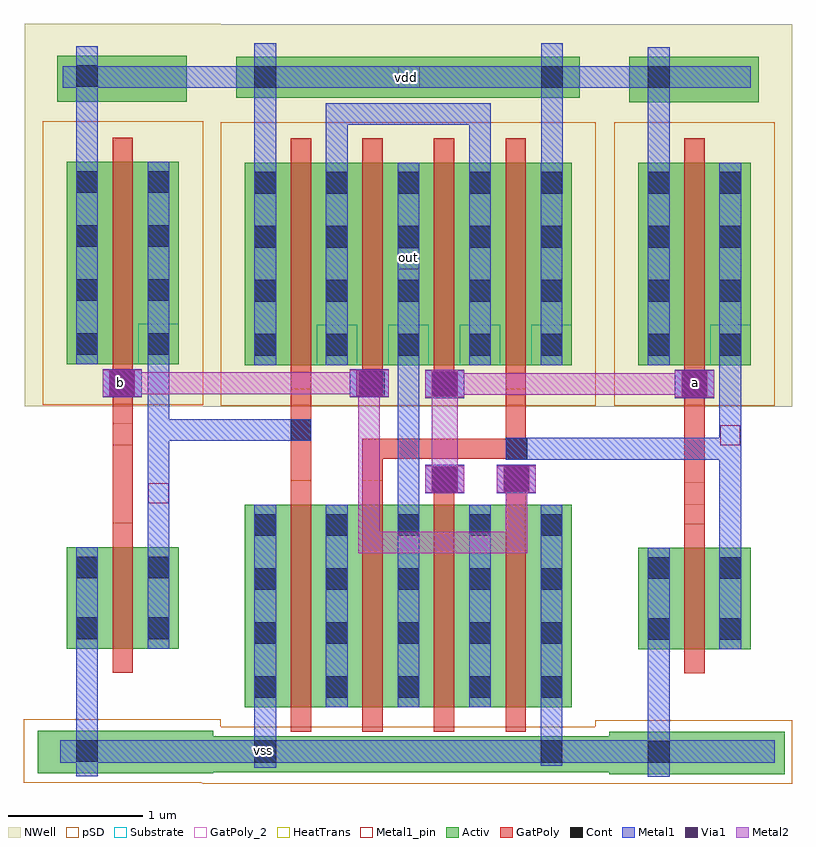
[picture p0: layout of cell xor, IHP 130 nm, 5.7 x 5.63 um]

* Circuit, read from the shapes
.subckt xor a b out vdd vss
XM1 inverter$1_4/out b vss vss sg13_lv_nmos w=0.75u l=0.15u
XM2 n1 inverter$1_4/out vss vss sg13_lv_nmos w=1.5u l=0.15u
XM3 out inverter_3/out n1 vss sg13_lv_nmos w=1.5u l=0.15u
XM4 n2 a out vss sg13_lv_nmos w=1.5u l=0.15u
XM5 vss b n2 vss sg13_lv_nmos w=1.5u l=0.15u
XM6 inverter_3/out a vss vss sg13_lv_nmos w=0.75u l=0.15u
XM7 inverter$1_4/out b vdd vdd sg13_lv_pmos w=1.5u l=0.15u
XM8 n3 inverter$1_4/out vdd vdd sg13_lv_pmos w=1.5u l=0.15u
XM9 out b n3 vdd sg13_lv_pmos w=1.5u l=0.15u
XM10 n3 a out vdd sg13_lv_pmos w=1.5u l=0.15u
XM11 vdd inverter_3/out n3 vdd sg13_lv_pmos w=1.5u l=0.15u
XM12 inverter_3/out a vdd vdd sg13_lv_pmos w=1.5u l=0.15u
.ends

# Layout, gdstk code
import gdstk
lib = gdstk.Library(unit=1e-6, precision=5e-09)
def R(c, l, rs):  # rectangles x0, y0, x1, y1
    for r in rs: c.add(gdstk.rectangle(r[:2], r[2:], *l))
def A(c, l, x, y, w, h, nx, ny, dx, dy):  # array of equal rectangles
    R(c, l, [(x+i*dx, y+j*dy, x+i*dx+w, y+j*dy+h) for i in range(nx) for j in range(ny)])
Activ = (1, 0)
GatPoly = (5, 0)
GatPoly_2 = (5, 2)
Cont = (6, 0)
Metal1 = (8, 0)
Metal1_pin = (8, 2)
Metal2 = (10, 0)
pSD = (14, 0)
Via1 = (19, 0)
NWell = (31, 0)
Substrate = (40, 0)
HeatTrans = (51, 0)

pmos = lib.new_cell('pmos')
R(pmos, Activ, [(0,0,0.3,0.3), (0,0,0.83,1.5), (0.53,0,0.83,0.3)])
R(pmos, GatPoly, [(0.34,-0.18,0.49,1.68), (0.34,-0.18,0.49,1.68)])
A(pmos, Cont, 0.07, 0.07, 0.16, 0.16, 1, 4, 0, 0.4)
A(pmos, Cont, 0.6, 0.07, 0.16, 0.16, 1, 4, 0, 0.4)
R(pmos, Metal1, [(0.07,0,0.23,1.5), (0.07,0,0.23,1.5), (0.6,0,0.76,1.5), (0.6,0,0.76,1.5)])
R(pmos, pSD, [(-0.18,-0.3,1.01,1.8)])
R(pmos, NWell, [(-0.31,-0.31,1.14,1.81)])
R(pmos, Substrate, [(0.53,0,0.83,0.3)])
R(pmos, HeatTrans, [(0.34,-0.18,0.49,1.68)])
pmos.add(gdstk.Label('pmos', (0.415,0.75), layer=63, texttype=0))
pmos.add(gdstk.Label('pmos', (0.415,0.75), layer=51, texttype=0))

nmos_1 = lib.new_cell('nmos$1')
R(nmos_1, Activ, [(0,0,0.3,0.3), (0,0,0.83,0.75), (0.53,0,0.83,0.3)])
R(nmos_1, GatPoly, [(0.34,-0.18,0.49,0.93)])
R(nmos_1, GatPoly_2, [(0.34,-0.18,0.49,0.93)])
R(nmos_1, Cont, [(0.07,0.07,0.23,0.23), (0.6,0.07,0.76,0.23), (0.07,0.52,0.23,0.68), (0.6,0.52,0.76,0.68)])
R(nmos_1, Metal1, [(0.07,0,0.23,0.75), (0.6,0,0.76,0.75)])
R(nmos_1, Metal1_pin, [(0.07,0,0.23,0.75), (0.6,0,0.76,0.75)])
R(nmos_1, HeatTrans, [(0.34,-0.18,0.49,0.93)])
nmos_1.add(gdstk.Label('nmos', (0.415,0.375), layer=63, texttype=0))
nmos_1.add(gdstk.Label('nmos', (0.415,0.375), layer=51, texttype=0))

pmos_1 = lib.new_cell('pmos$1')
R(pmos_1, Activ, [(0,0,0.3,0.3), (0,0,0.83,1.5), (0.53,0,0.83,0.3)])
R(pmos_1, GatPoly, [(0.34,-0.18,0.49,1.68), (0.34,-0.18,0.49,1.68)])
A(pmos_1, Cont, 0.07, 0.07, 0.16, 0.16, 1, 4, 0, 0.4)
A(pmos_1, Cont, 0.6, 0.07, 0.16, 0.16, 1, 4, 0, 0.4)
R(pmos_1, Metal1, [(0.07,0,0.23,1.5), (0.07,0,0.23,1.5), (0.6,0,0.76,1.5), (0.6,0,0.76,1.5)])
R(pmos_1, pSD, [(-0.18,-0.3,1.01,1.8)])
R(pmos_1, NWell, [(-0.31,-0.31,1.14,1.81)])
R(pmos_1, Substrate, [(0.53,0,0.83,0.3)])
R(pmos_1, HeatTrans, [(0.34,-0.18,0.49,1.68)])
pmos_1.add(gdstk.Label('pmos', (0.415,0.75), layer=63, texttype=0))
pmos_1.add(gdstk.Label('pmos', (0.415,0.75), layer=51, texttype=0))

inverter = lib.new_cell('inverter')
R(inverter, Activ, [(1.335,-1.99,2.635,-1.675), (1.48,2.985,2.44,3.325)])
R(inverter, GatPoly, [(1.89,-0.135,2.04,1.34)])
R(inverter, GatPoly_2, [(1.89,0.005,2.04,0.17)])
R(inverter, Cont, [(1.62,-1.905,1.78,-1.745), (1.62,2.31,1.78,2.47), (1.62,3.095,1.78,3.255)])
R(inverter, Metal1, [(1.62,-2.01,1.78,-1.065), (2.15,-0.315,2.31,1.27), (1.62,2.15,1.78,3.395)])
R(inverter, Metal1_pin, [(1.62,-1.905,1.78,-1.745), (2.155,0.445,2.305,0.595), (1.62,3.095,1.78,3.255)])
R(inverter, pSD, [(1.23,-2.06,2.69,-1.59)])
R(inverter, NWell, [(1.24,2.85,2.69,3.565)])
inverter.add(gdstk.Reference(nmos_1, (1.55,-1.065)))
inverter.add(gdstk.Reference(pmos_1, (1.55,1.04)))
inverter.add(gdstk.Label('out', (2.23,0.52), layer=8, texttype=2))
inverter.add(gdstk.Label('vdd', (1.685,3.17), layer=8, texttype=2))
inverter.add(gdstk.Label('vss', (1.69,-1.84), layer=8, texttype=2))
inverter.add(gdstk.Label('in', (1.94,0.09), layer=5, texttype=2))

nmos_2 = lib.new_cell('nmos$2')
R(nmos_2, Activ, [(0,0,0.3,0.3), (0,0,0.83,0.75), (0.53,0,0.83,0.3)])
R(nmos_2, GatPoly, [(0.34,-0.18,0.49,0.93)])
R(nmos_2, GatPoly_2, [(0.34,-0.18,0.49,0.93)])
R(nmos_2, Cont, [(0.07,0.07,0.23,0.23), (0.6,0.07,0.76,0.23), (0.07,0.52,0.23,0.68), (0.6,0.52,0.76,0.68)])
R(nmos_2, Metal1, [(0.07,0,0.23,0.75), (0.6,0,0.76,0.75)])
R(nmos_2, Metal1_pin, [(0.07,0,0.23,0.75), (0.6,0,0.76,0.75)])
R(nmos_2, HeatTrans, [(0.34,-0.18,0.49,0.93)])
nmos_2.add(gdstk.Label('nmos', (0.415,0.375), layer=63, texttype=0))
nmos_2.add(gdstk.Label('nmos', (0.415,0.375), layer=51, texttype=0))

pmos_1_1 = lib.new_cell('pmos$1$1')
R(pmos_1_1, Activ, [(0,0,0.3,0.3), (0,0,0.83,1.5), (0.53,0,0.83,0.3)])
R(pmos_1_1, GatPoly, [(0.34,-0.18,0.49,1.68), (0.34,-0.18,0.49,1.68)])
A(pmos_1_1, Cont, 0.07, 0.07, 0.16, 0.16, 1, 4, 0, 0.4)
A(pmos_1_1, Cont, 0.6, 0.07, 0.16, 0.16, 1, 4, 0, 0.4)
R(pmos_1_1, Metal1, [(0.07,0,0.23,1.5), (0.07,0,0.23,1.5), (0.6,0,0.76,1.5), (0.6,0,0.76,1.5)])
R(pmos_1_1, pSD, [(-0.18,-0.3,1.01,1.8)])
R(pmos_1_1, NWell, [(-0.31,-0.31,1.14,1.81)])
R(pmos_1_1, Substrate, [(0.53,0,0.83,0.3)])
R(pmos_1_1, HeatTrans, [(0.34,-0.18,0.49,1.68)])
pmos_1_1.add(gdstk.Label('pmos', (0.415,0.75), layer=63, texttype=0))
pmos_1_1.add(gdstk.Label('pmos', (0.415,0.75), layer=51, texttype=0))

inverter_1 = lib.new_cell('inverter$1')
R(inverter_1, Activ, [(1.335,-1.99,2.635,-1.675), (1.48,2.985,2.44,3.325)])
R(inverter_1, GatPoly, [(1.89,-0.135,2.04,1.34)])
R(inverter_1, GatPoly_2, [(1.89,0.44,2.04,0.605)])
R(inverter_1, Cont, [(1.62,-1.905,1.78,-1.745), (1.62,2.31,1.78,2.47), (1.62,3.095,1.78,3.255)])
R(inverter_1, Metal1, [(1.62,-2.01,1.78,-1.065), (2.15,-0.315,2.31,1.27), (1.62,2.15,1.78,3.395)])
R(inverter_1, Metal1_pin, [(1.62,-1.905,1.78,-1.745), (2.155,0.01,2.305,0.16), (1.62,3.095,1.78,3.255)])
R(inverter_1, pSD, [(1.23,-2.06,2.69,-1.59)])
R(inverter_1, NWell, [(1.24,2.85,2.69,3.565)])
inverter_1.add(gdstk.Reference(nmos_2, (1.55,-1.065)))
inverter_1.add(gdstk.Reference(pmos_1_1, (1.55,1.04)))
inverter_1.add(gdstk.Label('vdd', (1.685,3.17), layer=8, texttype=2))
inverter_1.add(gdstk.Label('out', (2.23,0.085), layer=8, texttype=2))
inverter_1.add(gdstk.Label('vss', (1.69,-1.84), layer=8, texttype=2))
inverter_1.add(gdstk.Label('in', (1.94,0.525), layer=5, texttype=2))

via_stack_1 = lib.new_cell('via_stack$1')
R(via_stack_1, Metal1, [(-0.145,-0.105,0.145,0.105)])
R(via_stack_1, Metal2, [(-0.145,-0.1,0.145,0.1)])
R(via_stack_1, Via1, [(-0.095,-0.095,0.095,0.095)])

nmos = lib.new_cell('nmos')
R(nmos, Activ, [(0,0,0.3,0.3), (0,0,0.83,1.5), (0.53,0,0.83,0.3)])
R(nmos, GatPoly, [(0.34,-0.18,0.49,1.68)])
R(nmos, GatPoly_2, [(0.34,-0.18,0.49,1.68)])
A(nmos, Cont, 0.07, 0.07, 0.16, 0.16, 1, 4, 0, 0.4)
A(nmos, Cont, 0.6, 0.07, 0.16, 0.16, 1, 4, 0, 0.4)
R(nmos, Metal1, [(0.07,0,0.23,1.5), (0.6,0,0.76,1.5)])
R(nmos, Metal1_pin, [(0.07,0,0.23,1.5), (0.6,0,0.76,1.5)])
R(nmos, HeatTrans, [(0.34,-0.18,0.49,1.68)])
nmos.add(gdstk.Label('nmos', (0.415,0.75), layer=63, texttype=0))
nmos.add(gdstk.Label('nmos', (0.415,0.75), layer=51, texttype=0))

xor = lib.new_cell('xor')
R(xor, Activ, [(-2.935,-1.82,0.08,-1.555), (-2.685,3.175,-1.21,3.48), (-1.615,3.175,-0.14,3.48)])
R(xor, GatPoly, [(-2.28,0.22,-2.13,1.195), (-1.235,0.245,-1.045,0.445), (-0.705,0.255,-0.515,0.445), (-0.69,0.495,-0.53,0.655), (0.615,0.96,0.805,1.15), (-3.625,0.965,-3.435,1.155), (-3.625,0.965,-3.435,1.155)])
R(xor, GatPoly_2, [(0.615,0.96,0.805,1.15), (-3.625,0.965,-3.435,1.155)])
R(xor, Cont, [(-2.55,-1.75,-2.39,-1.585), (-0.43,-1.75,-0.27,-1.585), (-1.235,0.245,-1.045,0.445), (-0.705,0.255,-0.515,0.445), (-0.69,0.495,-0.53,0.655), (-2.28,0.635,-2.13,0.795), (-1.775,0.96,-1.585,1.15), (-1.235,0.96,-1.045,1.15), (0.615,0.96,0.805,1.15), (-3.625,0.965,-3.435,1.155), (-2.55,3.25,-2.39,3.41), (-2.55,3.25,-2.39,3.41), (-0.425,3.25,-0.265,3.41)])
R(xor, Metal1, [(-3.99,-1.75,1.305,-1.585), (-1.235,0.255,-1.045,0.445), (-0.705,0.255,-0.515,0.445), (-1.235,0.96,-1.045,1.15), (0.615,0.96,0.805,1.15), (-3.625,0.965,-3.435,1.155), (-1.795,0.965,-1.605,1.155), (-2.55,2.465,-2.39,3.58), (-0.425,2.465,-0.265,3.58), (-3.97,3.25,1.125,3.41)])
R(xor, Metal1_pin, [(-2.55,-1.75,-2.39,-1.585), (-1.49,1.905,-1.33,2.065), (-1.485,3.25,-1.325,3.41)])
R(xor, Metal2, [(-1.235,0.245,-1.045,1.16), (-0.705,0.255,-0.515,0.445)])
R(xor, pSD, [(-2.935,-1.905,-0.025,-1.485)])
R(xor, NWell, [(-2.935,3.005,-0.955,3.72), (-1.865,3.005,0.115,3.72)])
xor.add(gdstk.FlexPath([(-1.675,0.16),(-1.675,0.575),(-0.615,0.575),(-0.615,1.19)], 0.15, ends="flush", simple_path=True, layer=5, datatype=0))  # GatPoly
xor.add(gdstk.FlexPath([(-1.41,1.345),(-1.41,0.01),(-1.41,-0.07),(-1.41,-0.07)], 0.16, ends="flush", simple_path=True, layer=8, datatype=0))  # Metal1
xor.add(gdstk.FlexPath([(-2.47,-1.19),(-2.47,-1.75),(-2.47,-1.79)], 0.16, ends="flush", simple_path=True, layer=8, datatype=0))  # Metal1
xor.add(gdstk.FlexPath([(-0.35,-1.11),(-0.35,-1.75),(-0.35,-1.775)], 0.16, ends="flush", simple_path=True, layer=8, datatype=0))  # Metal1
xor.add(gdstk.FlexPath([(-1.94,2.545),(-1.94,3.055),(-0.88,3.055),(-0.88,2.545)], 0.16, ends="flush", simple_path=True, layer=8, datatype=0))  # Metal1
xor.add(gdstk.FlexPath([(-3.34,0.715),(-2.13,0.715)], 0.16, ends="flush", simple_path=True, layer=8, datatype=0))  # Metal1
xor.add(gdstk.FlexPath([(-0.69,0.575),(1.055,0.575),(1.055,0.575)], 0.16, ends="flush", simple_path=True, layer=8, datatype=0))  # Metal1
xor.add(gdstk.FlexPath([(-1.7,1.06),(-1.7,-0.12),(-0.61,-0.12),(-0.61,0.245),(-0.61,0.445)], 0.16, ends="flush", simple_path=True, layer=10, datatype=0))  # Metal2
xor.add(gdstk.FlexPath([(-3.625,1.06),(-2.115,1.06),(-1.585,1.06)], 0.16, ends="flush", simple_path=True, layer=10, datatype=0))  # Metal2
xor.add(gdstk.FlexPath([(-1.235,1.055),(0.805,1.055),(0.805,1.055)], 0.16, ends="flush", simple_path=True, layer=10, datatype=0))  # Metal2
xor.add(gdstk.Reference(pmos, (-1.56,1.195)))
xor.add(gdstk.Reference(pmos, (-2.62,1.195)))
xor.add(gdstk.Reference(pmos, (-1.03,1.195)))
xor.add(gdstk.Reference(inverter, (-1.255,0.155)))
xor.add(gdstk.Reference(inverter_1, (-5.49,0.16)))
xor.add(gdstk.Reference(via_stack_1, (-1.14,1.055)))
xor.add(gdstk.Reference(via_stack_1, (-1.7,1.06)))
xor.add(gdstk.Reference(via_stack_1, (-3.53,1.06)))
xor.add(gdstk.Reference(via_stack_1, (-3.53,1.06)))
xor.add(gdstk.Reference(via_stack_1, (0.71,1.055)))
xor.add(gdstk.Reference(pmos, (-2.09,1.195)))
xor.add(gdstk.Reference(nmos, (-1.56,-1.34)))
xor.add(gdstk.Reference(nmos, (-1.03,-1.34)))
xor.add(gdstk.Reference(nmos, (-2.09,-1.34)))
xor.add(gdstk.Reference(nmos, (-2.62,-1.34)))
xor.add(gdstk.Reference(via_stack_1, (-1.14,0.35)))
xor.add(gdstk.Reference(via_stack_1, (-1.14,0.35)))
xor.add(gdstk.Reference(via_stack_1, (-0.61,0.35)))
xor.add(gdstk.Label('vss', (-2.485,-1.66), layer=8, texttype=2))
xor.add(gdstk.Label('out', (-1.41,1.995), layer=8, texttype=2))
xor.add(gdstk.Label('vdd', (-1.42,3.325), layer=8, texttype=2))
xor.add(gdstk.Label('a', (0.72,1.065), layer=5, texttype=2))
xor.add(gdstk.Label('b', (-3.545,1.065), layer=5, texttype=2))

lib.write_gds('xor.gds')
